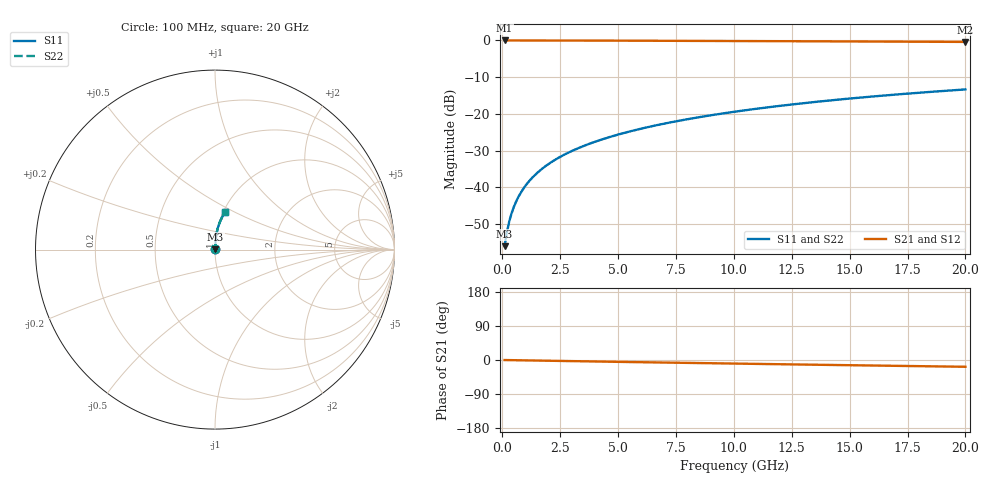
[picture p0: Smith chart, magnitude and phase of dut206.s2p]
! Touchstone file exported from HFSS 2024.1.0
!  File:  C:/UserFiles/LocalFiles/RDL_TSV_Batchsim/temp_RDL_top_206_1778687182.aedt
!  Generated:  11:48:39 PM May 13, 2026
!  Design:  RDL_top
!  Project:  temp_RDL_top_206_1778687182
!  Setup:  Setup1
!  Solution:  Sweep
! Variables:
!  dtsv = 10.80580581um
!  hbump = 3um
!  htsv = 97.65um
!  ldown = 100um
!  lrdl = 207.14um
!  p = 40
!  p1 = 50.36um
!  rhole = 1um
!  t = 450um
!  tdown = 3.915915916um
!  trdl = 4.46um
!  wdown = 15.38538539um
!  wrdl = 16.45um
# GHz S MA R 50.000000
! Terminal data exported
! Port[1] = Box2_T1
! Port[2] = Box2_T2
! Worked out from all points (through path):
!   200 points, 100 MHz to 20 GHz, reference 50 ohm
!   highest |S21| = -0.01 dB at 100 MHz (marker M1); lowest = -0.4 dB at 20 GHz (marker M2)
!   group delay of S21, straight-line fit = 2.47 ps
!   lowest |S11| = -56.0 dB at 100 MHz (marker M3), VSWR 1.00, Z = 50.1 + j0.109 ohm
!   |S11| at or under -10 dB: start of sweep to end of sweep
!   |S22| runs from -56.0 to -13.3 dB; largest |S21 - S12| = 3e-15
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0.1  0.001577 43.6  0.9989 -0.1  0.9989 -0.1  0.001577 43.6
! Gamma 0 0 0 0
! Port Impedance 50 0 50 0
0.2  0.002455 61.2  0.9988 -0.2  0.9988 -0.2  0.002455 61.2
0.3  0.003421 69.1  0.9988 -0.3  0.9988 -0.3  0.003421 69.1
0.4  0.004409 73.5  0.9987 -0.4  0.9987 -0.4  0.004409 73.5
0.5  0.005407 76.3  0.9987 -0.5  0.9987 -0.5  0.005407 76.3
0.6  0.006412 78.3  0.9986 -0.6  0.9986 -0.6  0.006412 78.3
0.8  0.008438 80.8  0.9985 -0.8  0.9985 -0.8  0.008438 80.8
1.1  0.0115 83.0  0.9983 -1.1  0.9983 -1.1  0.0115 83.0
1.5  0.01561 84.5  0.9981 -1.5  0.9981 -1.5  0.01561 84.5
1.8  0.0187 85.2  0.9978 -1.8  0.9978 -1.8  0.0187 85.2
2.1  0.02181 85.6  0.9975 -2.1  0.9975 -2.1  0.02181 85.6
2.7  0.02803 86.1  0.9968 -2.7  0.9968 -2.7  0.02803 86.1
3.5  0.03637 86.3  0.9956 -3.5  0.9956 -3.5  0.03638 86.3
4.2  0.04373 86.3  0.9945 -4.1  0.9945 -4.1  0.04373 86.3
5  0.05219 86.2  0.9929 -4.9  0.9929 -4.9  0.05219 86.2
5.9  0.0618 85.9  0.9911 -5.8  0.9911 -5.8  0.0618 85.9
6.8  0.0715 85.5  0.9891 -6.6  0.9891 -6.6  0.0715 85.5
8.3  0.08783 84.7  0.9856 -7.9  0.9856 -7.9  0.08783 84.7
10.1  0.1076 83.5  0.9812 -9.5  0.9812 -9.5  0.1076 83.5
13.4  0.144 80.9  0.9728 -12.4  0.9728 -12.4  0.144 80.9
16.7  0.18 78.1  0.9639 -15.2  0.9639 -15.2  0.18 78.1
20  0.215 75.2  0.9544 -17.9  0.9544 -17.9  0.2151 75.2
